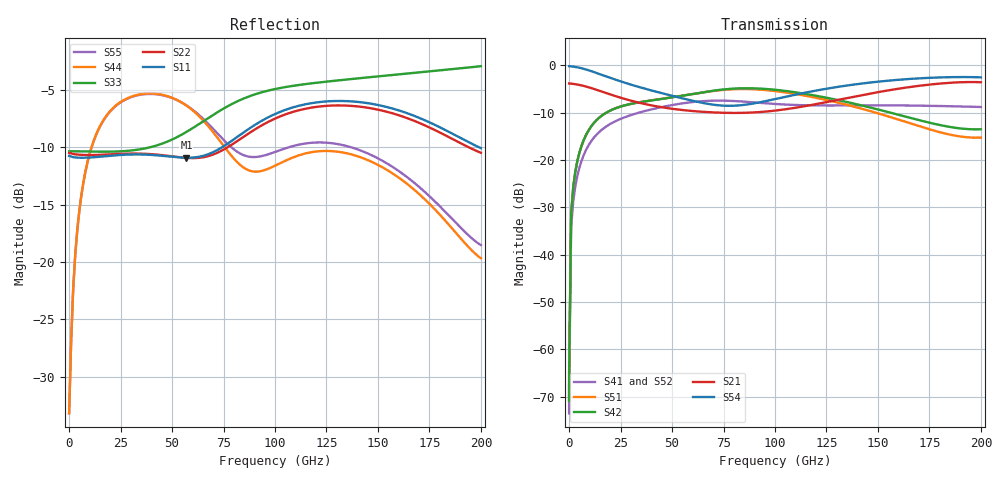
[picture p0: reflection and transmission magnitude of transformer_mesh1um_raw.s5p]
#  GHZ S DB R 50.0
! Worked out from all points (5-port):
!   202 points, 10 MHz to 200 GHz, reference 50 ohm
!   strongest paths, dB at 10 MHz, 49 GHz, 100 GHz, 150 GHz, 200 GHz:
!     S54: -0.2, -6.3, -7.1, -3.5, -2.6
!     S21: -3.8, -9.1, -9.6, -5.7, -3.6
!     S42: -70.9, -6.9, -5.2, -9.3, -13.5
!     S51: -70.9, -6.8, -5.4, -10.1, -15.3
!     S41: -73.5, -8.5, -8.2, -8.5, -8.8
!     S52: -73.5, -8.5, -8.2, -8.6, -9.1
!   lowest |S11| = -10.9 dB at 57 GHz (marker M1), VSWR 1.80, Z = 72.9 + j27.7 ohm
!   |S11| at or under -10 dB: start of sweep to 74.16 GHz; 199.2674 GHz to end of sweep
